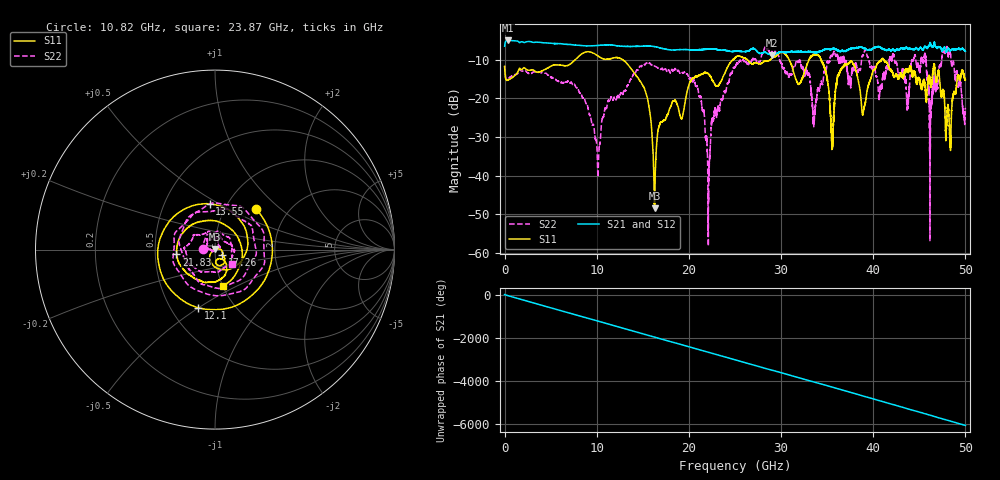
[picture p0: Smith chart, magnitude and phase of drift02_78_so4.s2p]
!Created with skrf (http://scikit-rf.org).
# Hz S RI R 50.0
!freq ReS11 ImS11 ReS21 ImS21 ReS12 ImS12 ReS22 ImS22
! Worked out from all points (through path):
!   10001 points, 300 kHz to 50 GHz, reference 50 ohm
!   highest |S21| = -5.04 dB at 325.3 MHz (marker M1); lowest = -8.9 dB at 28.98 GHz (marker M2)
!   group delay of S21, straight-line fit = 336 ps
!   lowest |S11| = -48.5 dB at 16.27 GHz (marker M3), VSWR 1.01, Z = 49.9 + j0.346 ohm
!   |S11| at or under -10 dB: start of sweep to 7.67 GHz; 12.82 GHz to 24.77 GHz (11.96 GHz wide, 63.6 % of centre); 41.15 GHz to end of sweep (the widest 3 of 9)
!   |S22| runs from -58.3 to -6.6 dB; largest |S21 - S12| = 0.029
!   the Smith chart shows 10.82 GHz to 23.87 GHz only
!   S11 on the Smith chart (normalised r, x): 10.82 GHz: 1.39, +0.70; 12.1 GHz: 0.68, -0.50; 13.55 GHz: 0.83, +0.45; 17.26 GHz: 1.08, -0.07; 21.83 GHz: 0.65, -0.04; 23.87 GHz: 1.01, -0.42
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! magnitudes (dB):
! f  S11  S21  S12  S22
! 300 kHz  -11.7  -6.5  -6.5  -11.6
! 325.3 MHz  -15.3  -5.0  -5.0  -15.1
! 8.335 GHz  -8.6  -6.4  -6.4  -19.1
! 10.11 GHz  -9.0  -6.3  -6.3  -38.9
! 10.82 GHz  -9.9  -6.2  -6.2  -23.6
! 12.1 GHz  -9.5  -6.4  -6.4  -20.4
! 13.55 GHz  -11.8  -6.6  -6.6  -15.8
! 16.27 GHz  -48.5  -6.6  -6.6  -11.7
! 16.67 GHz  -27.9  -6.8  -6.8  -12.1
! 17.26 GHz  -25.7  -7.2  -7.2  -12.8
! 21.83 GHz  -13.3  -7.3  -7.3  -30.8
! 23.87 GHz  -13.7  -7.6  -7.5  -18.2
! 25 GHz  -9.5  -7.8  -7.8  -12.0
! 28.98 GHz  -9.8  -8.9  -8.8  -8.0
! 33.34 GHz  -9.1  -8.0  -8.0  -20.1
! 35.54 GHz  -30.3  -7.2  -7.3  -9.1
! 36.79 GHz  -11.7  -7.9  -8.1  -9.1
! 41.67 GHz  -11.9  -7.3  -7.5  -12.0
! 45.5 GHz  -15.3  -7.0  -6.9  -9.7
! 46.26 GHz  -17.0  -6.2  -6.2  -21.8
! 48.12 GHz  -21.8  -7.1  -7.1  -9.0
! 50 GHz  -15.2  -7.8  -7.8  -22.9
